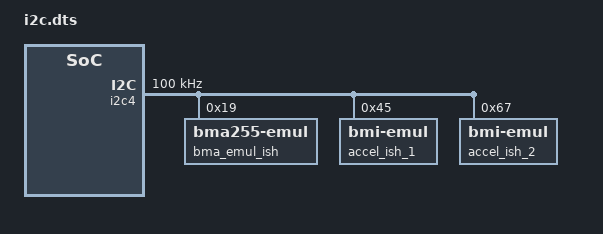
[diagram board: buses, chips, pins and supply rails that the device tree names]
/* Copyright 2026 The ChromiumOS Authors
 * Use of this source code is governed by a BSD-style license that can be
 * found in the LICENSE file.
 */

/ {
	chosen {
		hc_i2c = &i2c4;
	};

	named-i2c-ports {
		compatible = "named-i2c-ports";

		named_i2c4: i2c4 {
			i2c-port = <&i2c4>;
			enum-names = "I2C_PORT_ISH_SENSOR";
		};
	};

	i2c4: i2c@700 {
		status = "okay";
		compatible = "zephyr,i2c-emul-controller";
		clock-frequency = <I2C_BITRATE_STANDARD>;
		#address-cells = <1>;
		#size-cells = <0>;
		reg = <0x700 4>;

		bma_emul_ish: bma@19 {
			  compatible = "zephyr,bma255-emul";
			  reg = <0x19>;
		};

		accel_ish_1:  bmi_1@45 {
			compatible = "zephyr,bmi-emul";
			reg = <0x45>;
			device-model = "BMI_EMUL_260";
		};

		accel_ish_2:  bmi_1@67 {
			compatible = "zephyr,bmi-emul";
			reg = <0x67>;
			device-model = "BMI_EMUL_260";
		};

	};
};
